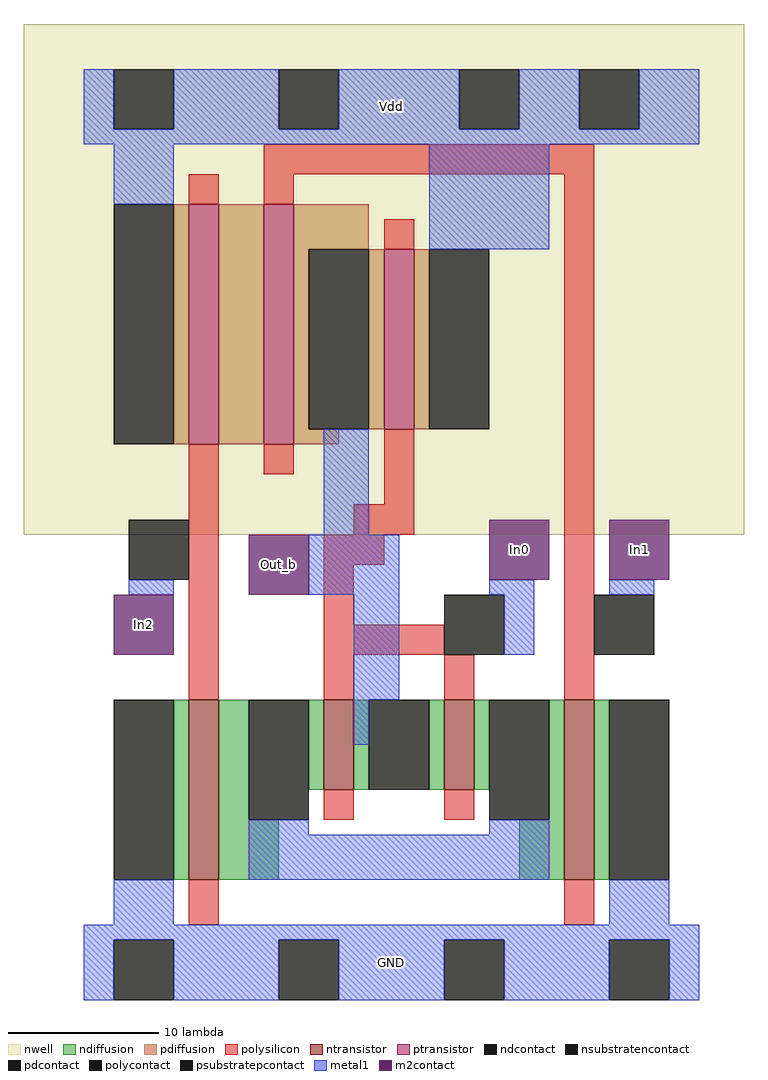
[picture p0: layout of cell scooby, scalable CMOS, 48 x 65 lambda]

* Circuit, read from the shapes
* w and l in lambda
.subckt scooby GND In0 In1 In2 Out_b Vdd
M1 n1 In2 GND GND nfet w=12 l=2
M2 Out_b In0 n1 GND nfet w=6 l=2 m=2
M3 GND In1 n1 GND nfet w=12 l=2
M4 n2 In2 Vdd Vdd pfet w=16 l=2
M5 Out_b In1 n2 Vdd pfet w=16 l=2
M6 Vdd In0 Out_b Vdd pfet w=12 l=2
.ends

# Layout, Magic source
magic
tech scmos
<< nwell >>
rect -7 30 41 64
<< ntransistor >>
rect 4 7 6 19
rect 13 13 15 19
rect 21 13 23 19
rect 29 7 31 19
<< ptransistor >>
rect 4 36 6 52
rect 9 36 11 52
rect 17 37 19 49
<< ndiffusion >>
rect 3 7 4 19
rect 6 11 8 19
rect 12 13 13 19
rect 15 13 16 19
rect 20 13 21 19
rect 23 13 24 19
rect 28 11 29 19
rect 6 7 10 11
rect 26 7 29 11
rect 31 7 32 19
<< pdiffusion >>
rect 3 36 4 52
rect 6 36 9 52
rect 11 49 16 52
rect 11 37 12 49
rect 16 37 17 49
rect 19 37 20 49
rect 11 36 14 37
<< ndcontact >>
rect -1 7 3 19
rect 8 11 12 19
rect 16 13 20 19
rect 24 11 28 19
rect 32 7 36 19
<< pdcontact >>
rect -1 36 3 52
rect 12 37 16 49
rect 20 37 24 49
<< psubstratepcontact >>
rect -1 -1 3 3
rect 10 -1 14 3
rect 21 -1 25 3
rect 32 -1 36 3
<< nsubstratencontact >>
rect -1 57 3 61
rect 10 57 14 61
rect 22 57 26 61
rect 30 57 34 61
<< polysilicon >>
rect 9 54 31 56
rect 4 52 6 54
rect 9 52 11 54
rect 17 49 19 51
rect 4 19 6 36
rect 9 34 11 36
rect 17 32 19 37
rect 15 30 19 32
rect 13 28 17 30
rect 13 24 15 28
rect 13 22 21 24
rect 13 19 15 22
rect 21 19 23 22
rect 29 19 31 54
rect 13 11 15 13
rect 21 11 23 13
rect 4 4 6 7
rect 29 4 31 7
<< polycontact >>
rect 0 27 4 31
rect 21 22 25 26
rect 31 22 35 26
<< metal1 >>
rect -3 57 -1 61
rect 3 57 10 61
rect 14 57 22 61
rect 26 57 30 61
rect 34 57 38 61
rect -3 56 38 57
rect -1 52 3 56
rect 20 49 28 56
rect 13 30 16 37
rect 0 26 3 27
rect 12 26 18 30
rect 24 26 27 27
rect 32 26 35 27
rect 15 19 18 26
rect 25 22 27 26
rect 15 16 16 19
rect 8 10 12 11
rect 24 10 28 11
rect 8 7 28 10
rect -1 4 3 7
rect 32 4 36 7
rect -3 3 38 4
rect -3 -1 -1 3
rect 3 -1 10 3
rect 14 -1 21 3
rect 25 -1 32 3
rect 36 -1 38 3
<< m2contact >>
rect 8 26 12 30
rect 24 27 28 31
rect 32 27 36 31
rect -1 22 3 26
<< labels >>
rlabel m2contact 32 27 36 31 0 In1
rlabel m2contact 24 27 28 31 0 In0
rlabel m2contact 8 26 12 30 0 Out_b
rlabel m2contact -1 22 3 26 0 In2
rlabel metal1 -3 56 38 61 1 Vdd
rlabel metal1 -3 -1 38 4 5 GND
<< end >>
